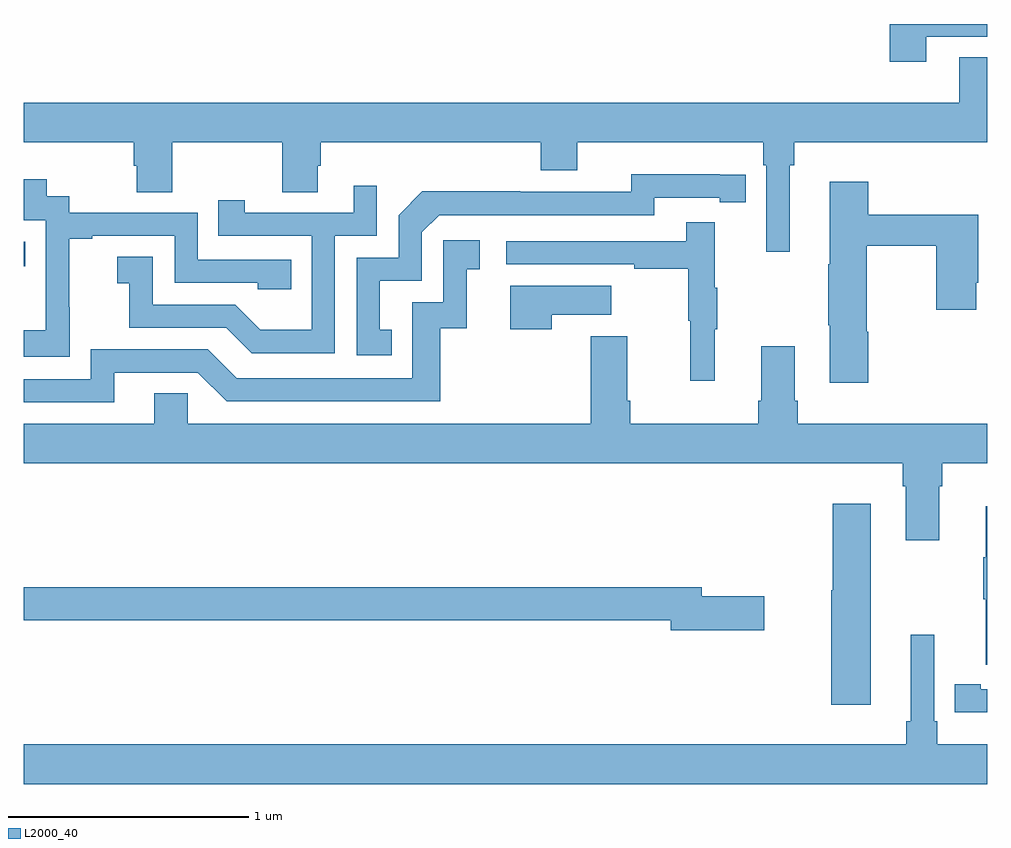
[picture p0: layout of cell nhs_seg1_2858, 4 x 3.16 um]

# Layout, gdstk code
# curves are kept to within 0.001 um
import gdstk
lib = gdstk.Library(unit=1e-6, precision=1e-09)
def R(c, l, rs):  # rectangles x0, y0, x1, y1
    for r in rs: c.add(gdstk.rectangle(r[:2], r[2:], *l))
def P(c, l, *ps):  # polygons
    for p in ps: c.add(gdstk.Polygon(p, *l))
L2000_40 = (2000, 40)

nhs_seg1_2858 = lib.new_cell('nhs_seg1_2858')
R(nhs_seg1_2858, L2000_40, [(265,575.194,265.007,575.295)])
P(nhs_seg1_2858, L2000_40, [(268.747,576.147),(269,576.147),(269,576.199),(268.595,576.199),(268.595,576.042),(268.747,576.042)],
  [(268.18,575.612),(268.199,575.612),(268.199,575.708),(269,575.708),(269,576.062),(268.883,576.062),(268.883,575.872),(265,575.872),(265,575.708),(265.457,575.708),(265.457,575.61),(265.469,575.61),(265.469,575.5),(265.617,575.5),(265.617,575.708),(266.074,575.708),(266.074,575.5),(266.221,575.5),(266.221,575.61),(266.234,575.61),(266.234,575.708),(267.146,575.708),(267.146,575.591),(267.298,575.591),(267.298,575.708),(268.07,575.708),(268.07,575.612),(268.083,575.612),(268.083,575.253),(268.18,575.253)],
  [(266.528,574.929),(266.479,574.929),(266.479,575.133),(266.652,575.133),(266.652,575.334),(266.724,575.406),(267.618,575.406),(267.618,575.478),(267.89,575.478),(267.89,575.458),(267.998,575.458),(267.998,575.574),(267.522,575.575),(267.522,575.502),(267.062,575.502),(267.062,575.504),(266.654,575.504),(266.556,575.406),(266.556,575.229),(266.382,575.229),(266.382,574.824),(266.528,574.824)],
  [(265.191,575.023),(265.19,575.023),(265.19,575.307),(265.285,575.307),(265.285,575.319),(265.626,575.319),(265.626,575.124),(265.971,575.124),(265.971,575.097),(266.111,575.097),(266.111,575.22),(265.722,575.22),(265.722,575.415),(265.188,575.415),(265.188,575.484),(265.096,575.484),(265.096,575.554),(265,575.554),(265,575.385),(265.092,575.385),(265.092,575.156),(265.091,575.156),(265.091,574.927),(265,574.927),(265,574.817),(265.191,574.817)],
  [(268.505,574.922),(268.5,574.922),(268.5,575.278),(268.789,575.278),(268.789,575.013),(268.954,575.013),(268.954,575.125),(268.962,575.125),(268.962,575.407),(268.505,575.407),(268.505,575.545),(268.346,575.545),(268.346,575.201),(268.339,575.201),(268.339,574.948),(268.346,574.948),(268.346,574.71),(268.505,574.71)],
  [(266.292,575.319),(266.466,575.319),(266.466,575.527),(266.369,575.527),(266.369,575.415),(265.918,575.415),(265.918,575.467),(265.807,575.467),(265.807,575.319),(266.196,575.319),(266.196,574.93),(265.982,574.93),(265.878,575.034),(265.536,575.034),(265.536,575.233),(265.389,575.233),(265.389,575.123),(265.438,575.123),(265.438,574.938),(265.841,574.938),(265.946,574.833),(266.292,574.833)],
  [(267.869,574.931),(267.88,574.931),(267.88,575.105),(267.869,575.105),(267.869,575.377),(267.751,575.377),(267.751,575.298),(267.003,575.298),(267.003,575.202),(267.535,575.202),(267.535,575.182),(267.759,575.182),(267.759,574.968),(267.766,574.968),(267.766,574.719),(267.869,574.719)],
  [(265.375,574.752),(265.722,574.752),(265.842,574.632),(266.729,574.632),(266.729,574.935),(266.84,574.935),(266.84,575.181),(266.893,575.181),(266.893,575.302),(266.742,575.302),(266.742,575.043),(266.613,575.043),(266.613,574.728),(265.884,574.728),(265.764,574.848),(265.278,574.848),(265.278,574.725),(265,574.725),(265,574.629),(265.375,574.629)],
  [(267.191,574.991),(267.439,574.991),(267.439,575.113),(267.02,575.113),(267.02,574.932),(267.191,574.932)],
  [(268.649,574.28),(268.661,574.28),(268.661,574.056),(268.801,574.056),(268.801,574.28),(268.814,574.28),(268.814,574.376),(269,574.376),(269,574.54),(268.214,574.54),(268.214,574.636),(268.201,574.636),(268.201,574.861),(268.061,574.861),(268.061,574.636),(268.049,574.636),(268.049,574.54),(267.518,574.54),(267.518,574.636),(267.505,574.636),(267.505,574.903),(267.353,574.903),(267.353,574.54),(265.68,574.54),(265.68,574.667),(265.541,574.667),(265.541,574.54),(265,574.54),(265,574.376),(268.649,574.376)],
  [(268.516,574.207),(268.358,574.207),(268.358,573.849),(268.352,573.849),(268.352,573.372),(268.516,573.372)],
  [(269,574.198),(268.994,574.198),(268.994,573.985),(268.983,573.985),(268.983,573.811),(268.994,573.811),(268.994,573.54),(269,573.54)],
  [(268.075,573.824),(267.814,573.824),(267.814,573.86),(265,573.86),(265,573.724),(267.686,573.724),(267.686,573.682),(268.075,573.682)],
  [(269,573.208),(268.793,573.208),(268.793,573.304),(268.779,573.304),(268.779,573.664),(268.682,573.664),(268.682,573.304),(268.663,573.304),(268.663,573.208),(265,573.208),(265,573.044),(269,573.044)],
  [(269,573.438),(268.972,573.438),(268.972,573.458),(268.864,573.458),(268.864,573.342),(268.972,573.342),(268.972,573.341),(269,573.341)])

lib.write_gds('nhs_seg1_2858.gds')
